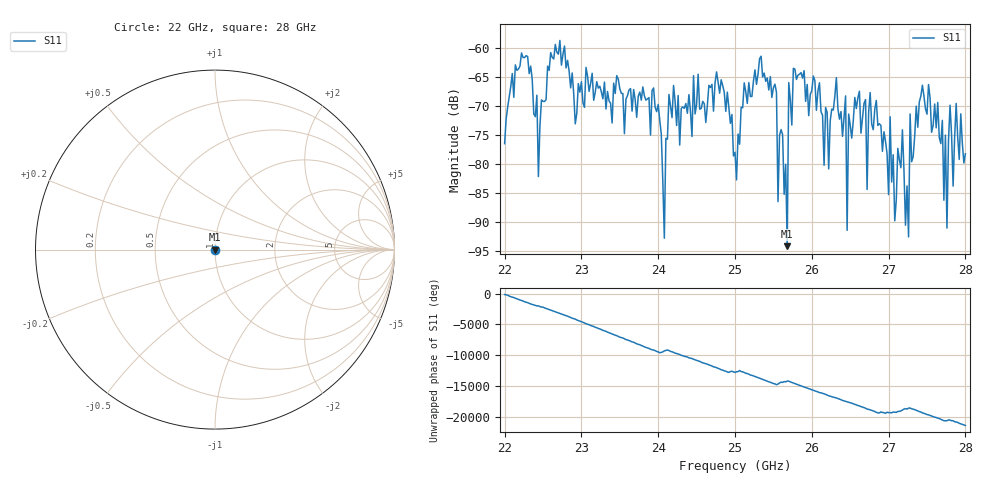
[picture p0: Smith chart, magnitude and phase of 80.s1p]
#  HZ  S  RI  R  50.00
! Rohde & Schwarz ZVA40 4Ports - Version 3.90 - 1145.1110k42 SN: 100403
! Date: 2023-10-04 07:47:59
! Measurement: S12
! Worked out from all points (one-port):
!   301 points, 22 GHz to 28 GHz, reference 50 ohm
!   lowest |S11| = -94.2 dB at 25.68 GHz (marker M1), VSWR 1.00, Z = 50 - j0.00195 ohm
!   |S11| at or under -10 dB: start of sweep to end of sweep
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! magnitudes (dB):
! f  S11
! 22 GHz  -76.5
! 22.28 GHz  -61.3
! 22.42 GHz  -68.2
! 22.44 GHz  -82.2
! 22.56 GHz  -63.2
! 22.76 GHz  -61.1
! 22.92 GHz  -73.1
! 23.5 GHz  -67.0
! 23.94 GHz  -66.9
! 24.06 GHz  -82.9
! 24.26 GHz  -68.2
! 24.28 GHz  -76.7
! 24.76 GHz  -64.1
! 25 GHz  -78.0
! 25.34 GHz  -61.4
! 25.68 GHz  -94.2
! 25.7 GHz  -66.0
! 25.74 GHz  -73.3
! 25.76 GHz  -63.5
! 26.1 GHz  -66.0
! 26.16 GHz  -80.2
! 26.32 GHz  -65.1
! 26.44 GHz  -68.3
! 26.46 GHz  -91.4
! 26.5 GHz  -73.3
! 27.26 GHz  -92.6
! 27.44 GHz  -66.4
! 28 GHz  -78.2
